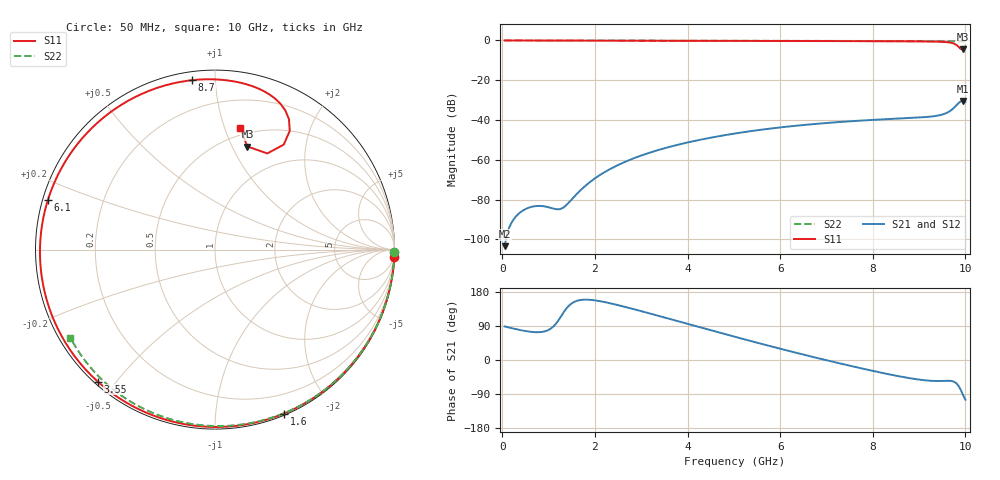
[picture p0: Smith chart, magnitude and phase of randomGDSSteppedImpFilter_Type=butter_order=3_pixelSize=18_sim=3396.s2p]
! freq	dB(S11)	phase(S11)	dB(S12)	phase(S12)
!  dB(S21)	phase(S21)	dB(S22)	phase(S22)
!S-par simulation data
#  GHz  S  DB  R 50
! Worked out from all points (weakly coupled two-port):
!   200 points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, 50 MHz to 10 GHz, reference 50 ohm
!   highest |S21| = -30.38 dB at 9.95 GHz (marker M1); lowest = -103.4 dB at 50 MHz (marker M2)
!   lowest |S11| = -4.4 dB at 9.95 GHz (marker M3), VSWR 4.03, Z = 31.8 + j57.4 ohm
!   |S11| at or under -10 dB: nowhere
!   |S22| runs from -0.5 to 0.0 dB; largest |S21 - S12| = 0
!   S11 on the Smith chart (normalised r, x): 50 MHz: 0, -51; 1.6 GHz: 0.01, -1.50; 3.55 GHz: 0.01, -0.45; 6.1 GHz: 0.01, +0.15; 8.7 GHz: 0.04, +0.87; 10 GHz: 0.44, +1.13
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0.05  -0.00 -2.2  -103.40 88.6  -103.40 88.6  -0.00 -0.9
0.7  -0.04 -30.6  -83.32 73.5  -83.32 73.5  -0.02 -12.0
1.45  -0.07 -61.4  -81.16 144.7  -81.16 144.7  -0.03 -24.7
1.6  -0.08 -67.2  -77.38 155.7  -77.38 155.7  -0.03 -27.2
1.75  -0.09 -72.9  -73.97 159.1  -73.97 159.1  -0.04 -29.7
2.05  -0.10 -83.9  -68.52 156.5  -68.52 156.5  -0.04 -34.7
2.45  -0.11 -97.7  -63.18 146.3  -63.18 146.3  -0.05 -41.3
3.4  -0.14 -127.3  -54.86 115.6  -54.86 115.6  -0.08 -56.5
3.55  -0.14 -131.6  -53.87 110.6  -53.87 110.6  -0.08 -58.8
4.3  -0.17 -152.0  -49.78 85.4  -49.78 85.4  -0.10 -70.3
5.05  -0.20 -171.1  -46.67 60.4  -46.67 60.4  -0.13 -81.5
6.1  -0.25 163.3  -43.45 26.7  -43.45 26.7  -0.17 -96.5
6.7  -0.29 148.8  -42.08 8.3  -42.08 8.3  -0.20 -104.8
7.6  -0.34 126.6  -40.49 -17.8  -40.49 -17.8  -0.26 -117.0
8.35  -0.39 107.2  -39.50 -37.7  -39.50 -37.7  -0.33 -127.0
8.7  -0.42 97.6  -39.11 -46.0  -39.11 -46.0  -0.36 -131.6
9.45  -0.65 74.4  -37.54 -55.4  -37.54 -55.4  -0.44 -141.4
9.75  -1.56 60.5  -33.93 -57.1  -33.93 -57.1  -0.48 -145.4
9.85  -3.11 56.8  -31.52 -67.9  -31.52 -67.9  -0.49 -146.7
9.9  -4.30 61.5  -30.59 -79.1  -30.59 -79.1  -0.49 -147.3
9.95  -4.41 72.5  -30.38 -92.6  -30.38 -92.6  -0.49 -148.0
10  -3.21 78.3  -30.96 -104.8  -30.96 -104.8  -0.50 -148.7
